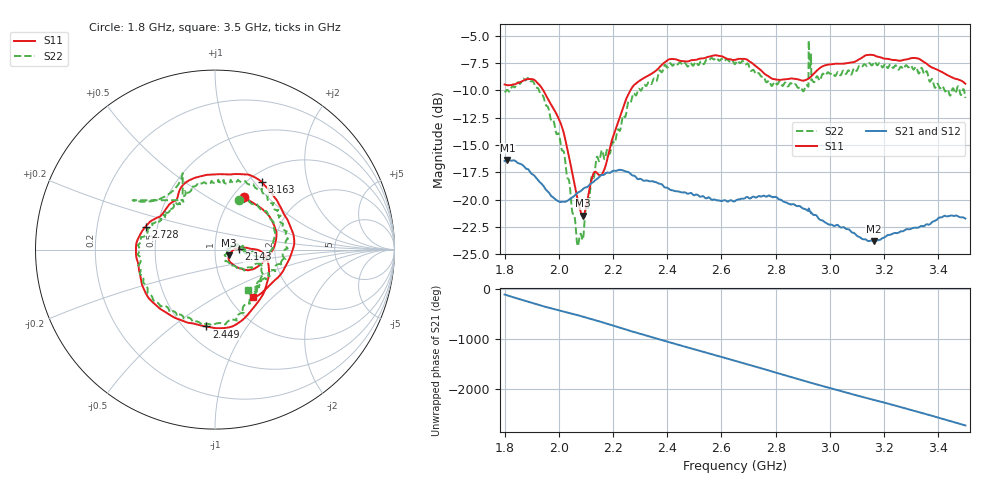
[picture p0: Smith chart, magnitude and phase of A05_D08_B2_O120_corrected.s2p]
! Created with skrf 1.9.0 (http://scikit-rf.org).
# Hz S RI R 50.0
!freq ReS11 ImS11 ReS21 ImS21 ReS12 ImS12 ReS22 ImS22
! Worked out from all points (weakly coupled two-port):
!   1601 points, 1.8 GHz to 3.5 GHz, reference 50 ohm
!   highest |S21| = -16.38 dB at 1.811 GHz (marker M1); lowest = -23.8 dB at 3.162 GHz (marker M2)
!   lowest |S11| = -21.5 dB at 2.089 GHz (marker M3), VSWR 1.18, Z = 58.4 - j3.7 ohm
!   |S11| at or under -10 dB: 1.943 GHz to 2.264 GHz (321.5 MHz wide, 15.3 % of centre)
!   |S22| runs from -24.3 to -5.4 dB; largest |S21 - S12| = 0.003
!   S11 on the Smith chart (normalised r, x): 1.8 GHz: 1.12, +0.75; 2.143 GHz: 1.30, +0.00; 2.449 GHz: 0.64, -0.67; 2.728 GHz: 0.43, +0.13; 3.163 GHz: 1.15, +1.10; 3.5 GHz: 1.27, -0.77
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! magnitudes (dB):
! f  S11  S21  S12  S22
! 1.8 GHz  -9.5  -16.5  -16.5  -10.2
! 1.811 GHz  -9.5  -16.4  -16.4  -10.0
! 1.887 GHz  -9.0  -17.2  -17.3  -8.9
! 1.941 GHz  -9.9  -18.7  -18.7  -10.5
! 2.013 GHz  -13.4  -20.2  -20.2  -15.5
! 2.067 GHz  -19.7  -19.4  -19.4  -23.9
! 2.084 GHz  -21.3  -19.2  -19.1  -23.3
! 2.089 GHz  -21.5  -19.0  -19.1  -23.7
! 2.125 GHz  -17.8  -18.4  -18.4  -17.9
! 2.143 GHz  -17.6  -18.1  -18.0  -16.1
! 2.191 GHz  -15.0  -17.5  -17.5  -15.6
! 2.265 GHz  -10.0  -17.7  -17.7  -11.1
! 2.367 GHz  -8.0  -18.5  -18.5  -8.5
! 2.449 GHz  -7.3  -19.3  -19.3  -7.5
! 2.65 GHz  -7.2  -20.1  -20.1  -7.6
! 2.728 GHz  -7.8  -19.8  -19.8  -8.5
! 2.9 GHz  -9.1  -20.8  -20.8  -10.0
! 2.934 GHz  -8.7  -21.3  -21.2  -9.1
! 3.162 GHz  -6.8  -23.8  -23.8  -7.4
! 3.163 GHz  -6.8  -23.8  -23.8  -7.4
! 3.217 GHz  -7.1  -23.2  -23.2  -7.8
! 3.5 GHz  -9.4  -21.7  -21.7  -10.7
